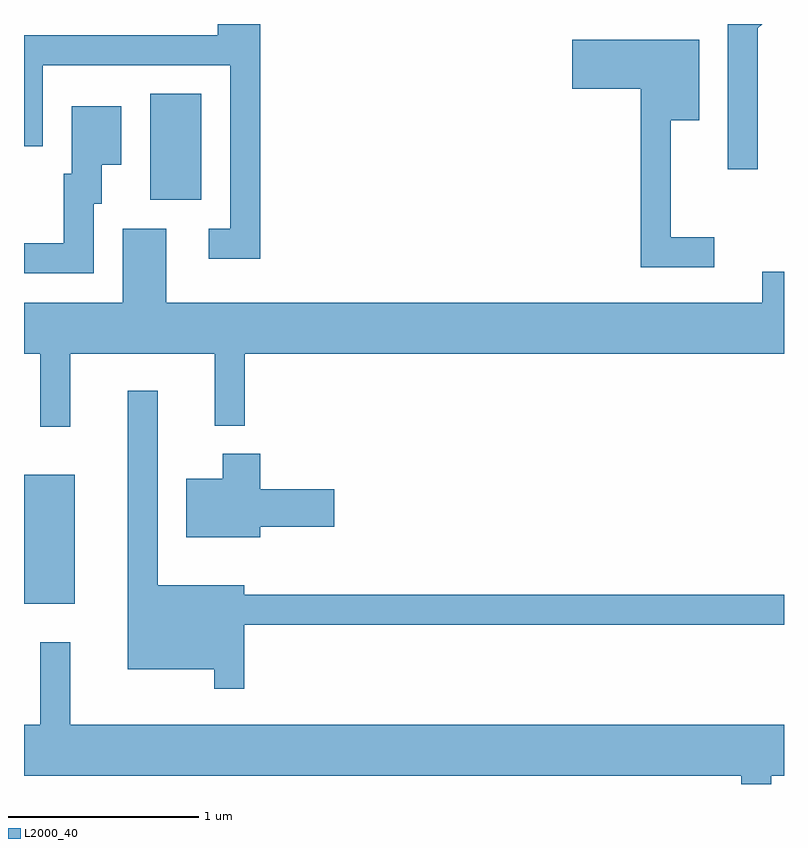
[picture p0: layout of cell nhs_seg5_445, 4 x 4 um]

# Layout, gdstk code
import gdstk
lib = gdstk.Library(unit=1e-6, precision=1e-09)
def R(c, l, rs):  # rectangles x0, y0, x1, y1
    for r in rs: c.add(gdstk.rectangle(r[:2], r[2:], *l))
def P(c, l, *ps):  # polygons
    for p in ps: c.add(gdstk.Polygon(p, *l))
L2000_40 = (2000, 40)

nhs_seg5_445 = lib.new_cell('nhs_seg5_445')
R(nhs_seg5_445, L2000_40, [(197.611,1471.021,197.879,1471.699), (198.276,1473.146,198.544,1473.704)])
P(nhs_seg5_445, L2000_40, [(198.854,1474.072),(198.631,1474.072),(198.631,1474.014),(197.611,1474.014),(197.611,1473.428),(197.709,1473.428),(197.709,1473.856),(198.696,1473.856),(198.696,1472.994),(198.583,1472.994),(198.583,1472.836),(198.854,1472.836)],
  [(201.474,1474.049),(201.497,1474.072),(201.316,1474.072),(201.316,1473.308),(201.474,1473.308)],
  [(201.243,1472.949),(201.014,1472.949),(201.014,1473.566),(201.164,1473.566),(201.164,1473.989),(200.496,1473.989),(200.496,1473.731),(200.856,1473.731),(200.856,1472.791),(201.243,1472.791)],
  [(197.979,1473.126),(198.019,1473.126),(198.019,1473.331),(198.124,1473.331),(198.124,1473.639),(197.861,1473.639),(197.861,1473.284),(197.821,1473.284),(197.821,1472.919),(197.611,1472.919),(197.611,1472.761),(197.979,1472.761)],
  [(197.854,1472.336),(198.616,1472.336),(198.616,1471.958),(198.774,1471.958),(198.774,1472.336),(201.611,1472.336),(201.611,1472.769),(201.496,1472.769),(201.496,1472.604),(198.359,1472.604),(198.359,1472.994),(198.131,1472.994),(198.131,1472.604),(197.611,1472.604),(197.611,1472.336),(197.696,1472.336),(197.696,1471.953),(197.854,1471.953)],
  [(198.769,1470.911),(201.611,1470.911),(201.611,1471.069),(198.769,1471.069),(198.769,1471.119),(198.314,1471.119),(198.314,1472.143),(198.156,1472.143),(198.156,1470.676),(198.611,1470.676),(198.611,1470.573),(198.769,1470.573)],
  [(198.854,1471.426),(199.244,1471.426),(199.244,1471.624),(198.854,1471.624),(198.854,1471.809),(198.656,1471.809),(198.656,1471.679),(198.466,1471.679),(198.466,1471.371),(198.854,1471.371)],
  [(201.544,1470.116),(201.611,1470.116),(201.611,1470.384),(197.854,1470.384),(197.854,1470.818),(197.696,1470.818),(197.696,1470.384),(197.611,1470.384),(197.611,1470.116),(201.386,1470.116),(201.386,1470.072),(201.544,1470.072)])

lib.write_gds('nhs_seg5_445.gds')
